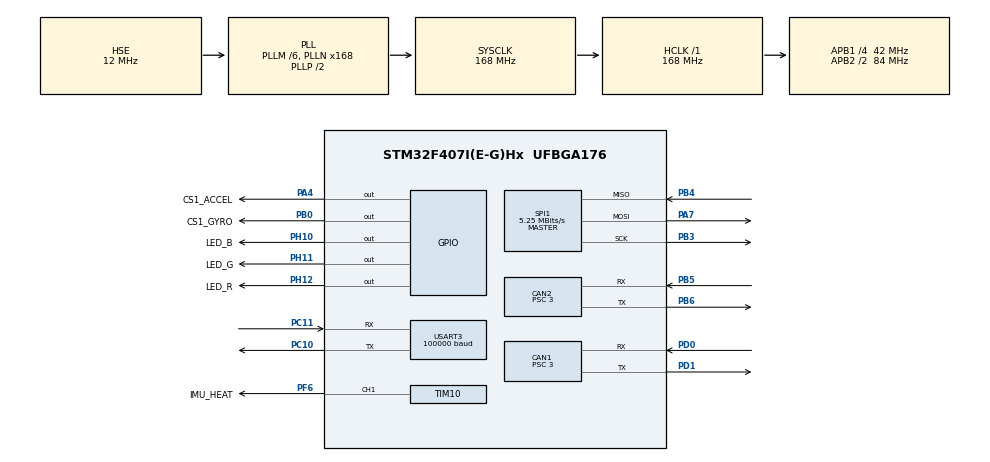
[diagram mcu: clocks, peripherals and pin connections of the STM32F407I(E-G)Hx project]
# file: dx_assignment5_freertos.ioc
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CAN1.ABOM=ENABLE
CAN1.AWUM=ENABLE
CAN1.BS1=CAN_BS1_7TQ
CAN1.BS2=CAN_BS2_6TQ
CAN1.CalculateBaudRate=1000000
CAN1.CalculateTimeBit=1000
CAN1.CalculateTimeQuantum=71.42857142857143
CAN1.Mode=CAN_MODE_NORMAL
CAN1.NART=ENABLE
CAN1.Prescaler=3
CAN1.TXFP=ENABLE
CAN2.BS1=CAN_BS1_7TQ
CAN2.BS2=CAN_BS2_6TQ
CAN2.CalculateBaudRate=1000000
CAN2.CalculateTimeBit=1000
CAN2.CalculateTimeQuantum=71.42857142857143
CAN2.Prescaler=3
Dma.Request0=USART3_RX
Dma.USART3_RX.0.Direction=DMA_PERIPH_TO_MEMORY
Dma.USART3_RX.0.FIFOMode=DMA_FIFOMODE_DISABLE
Dma.USART3_RX.0.Instance=DMA1_Stream1
Dma.USART3_RX.0.MemDataAlignment=DMA_MDATAALIGN_BYTE
Dma.USART3_RX.0.MemInc=DMA_MINC_ENABLE
Dma.USART3_RX.0.Mode=DMA_NORMAL
Dma.USART3_RX.0.PeriphDataAlignment=DMA_PDATAALIGN_BYTE
Dma.USART3_RX.0.PeriphInc=DMA_PINC_DISABLE
Dma.USART3_RX.0.Priority=DMA_PRIORITY_LOW
FREERTOS.CountingSemaphores01=CAN1CountingSem,3,Dynamic,NULL;CAN2CountingSem,3,Dynamic,NULL
FREERTOS.Queues01=can1_send_fifo,16,can_device_transmit_member,0,Dynamic,NULL,NULL;can2_send_fifo,16,can_device_transmit_member,0,Dynamic,NULL,NULL
FREERTOS.Tasks01=CAN1_Sending_Service,40,256,can1_sending_service,As weak,NULL,Dynamic,NULL,NULL;CAN2_Sending_Service,40,256,can2_sending_service,As weak,NULL,Dynamic,NULL,NULL;DJI_Motor_Service,40,256,DJI_motor_service,As weak,NULL,Dynamic,NULL,NULL;LED_Task,16,128,led_task,As weak,NULL,Dynamic,NULL,NULL;INS_Task,40,1024,ins_task,As weak,NULL,Dynamic,NULL,NULL;RC_Task,24,256,rc_task,As weak,NULL,Dynamic,NULL,NULL;Power_Task,24,128,power_task,As weak,NULL,Dynamic,NULL,NULL;Motor_Task,40,512,motor_task,As weak,NULL,Dynamic,NULL,NULL
FREERTOS.configMAX_TASK_NAME_LEN=32
FREERTOS.configMINIMAL_STACK_SIZE=128
FREERTOS.configTOTAL_HEAP_SIZE=50000
FREERTOS.configUSE_NEWLIB_REENTRANT=1
Mcu.Family=STM32F4
Mcu.Name=STM32F407I(E-G)Hx
Mcu.Package=UFBGA176
NVIC.CAN1_RX0_IRQn=true\:5\:0\:false\:false\:true\:true\:true\:true\:true
NVIC.CAN1_TX_IRQn=true\:5\:0\:false\:false\:true\:true\:true\:true\:true
NVIC.CAN2_RX1_IRQn=true\:5\:0\:false\:false\:true\:true\:true\:true\:true
NVIC.CAN2_TX_IRQn=true\:5\:0\:false\:false\:true\:true\:true\:true\:true
NVIC.DMA1_Stream1_IRQn=true\:5\:0\:false\:false\:true\:true\:false\:true\:true
NVIC.PriorityGroup=NVIC_PRIORITYGROUP_4
NVIC.TIM7_IRQn=true\:15\:0\:false\:false\:true\:false\:false\:true\:true
NVIC.TimeBase=TIM7_IRQn
NVIC.TimeBaseIP=TIM7
NVIC.USART3_IRQn=true\:5\:0\:false\:false\:true\:true\:true\:true\:true
PA13.Mode=Serial_Wire
PA13.Signal=SYS_JTMS-SWDIO
PA14.Mode=Serial_Wire
PA14.Signal=SYS_JTCK-SWCLK
PA4.GPIO_Label=CS1_ACCEL
PA4.GPIO_Speed=GPIO_SPEED_FREQ_HIGH
PA4.PinState=GPIO_PIN_SET
PA4.Signal=GPIO_Output
PA7.Mode=Full_Duplex_Master
PA7.Signal=SPI1_MOSI
PB0.GPIO_Label=CS1_GYRO
PB0.GPIO_ModeDefaultOutputPP=GPIO_MODE_OUTPUT_PP
PB0.GPIO_Speed=GPIO_SPEED_FREQ_HIGH
PB0.PinState=GPIO_PIN_SET
PB0.Signal=GPIO_Output
PB3.Mode=Full_Duplex_Master
PB3.Signal=SPI1_SCK
PB4.Mode=Full_Duplex_Master
PB4.Signal=SPI1_MISO
PB5.Mode=CAN_Activate
PB5.Signal=CAN2_RX
PB6.Mode=CAN_Activate
PB6.Signal=CAN2_TX
PC10.Mode=Asynchronous
PC10.Signal=USART3_TX
PC11.Mode=Asynchronous
PC11.Signal=USART3_RX
PD0.Mode=CAN_Activate
PD0.Signal=CAN1_RX
PD1.Mode=CAN_Activate
PD1.Signal=CAN1_TX
PF6.GPIO_Label=IMU_HEAT
PF6.Signal=S_TIM10_CH1
PH0-OSC_IN.Mode=HSE-External-Oscillator
PH0-OSC_IN.Signal=RCC_OSC_IN
PH1-OSC_OUT.Mode=HSE-External-Oscillator
PH1-OSC_OUT.Signal=RCC_OSC_OUT
PH10.GPIO_Label=LED_B
PH10.GPIO_ModeDefaultOutputPP=GPIO_MODE_OUTPUT_PP
PH10.GPIO_PuPd=GPIO_NOPULL
PH10.GPIO_Speed=GPIO_SPEED_FREQ_LOW
PH10.PinState=GPIO_PIN_RESET
PH10.Signal=GPIO_Output
PH11.GPIO_Label=LED_G
PH11.GPIO_ModeDefaultOutputPP=GPIO_MODE_OUTPUT_PP
PH11.GPIO_PuPd=GPIO_NOPULL
PH11.GPIO_Speed=GPIO_SPEED_FREQ_LOW
PH11.PinState=GPIO_PIN_RESET
PH11.Signal=GPIO_Output
PH12.GPIO_Label=LED_R
PH12.GPIO_ModeDefaultOutputPP=GPIO_MODE_OUTPUT_PP
PH12.GPIO_PuPd=GPIO_NOPULL
PH12.GPIO_Speed=GPIO_SPEED_FREQ_LOW
PH12.PinState=GPIO_PIN_RESET
PH12.Signal=GPIO_Output
ProjectManager.HeapSize=0x200
ProjectManager.StackSize=0x400
ProjectManager.TargetToolchain=CMake
RCC.48MHZClocksFreq_Value=84000000
RCC.AHBFreq_Value=168000000
RCC.APB1CLKDivider=RCC_HCLK_DIV4
RCC.APB1Freq_Value=42000000
RCC.APB1TimFreq_Value=84000000
RCC.APB2CLKDivider=RCC_HCLK_DIV2
RCC.APB2Freq_Value=84000000
RCC.APB2TimFreq_Value=168000000
RCC.CortexFreq_Value=168000000
RCC.HCLKFreq_Value=168000000
RCC.HSE_VALUE=12000000
RCC.HSI_VALUE=16000000
RCC.LSE_VALUE=32768
RCC.PLLM=6
RCC.PLLN=168
RCC.PLLSourceVirtual=RCC_PLLSOURCE_HSE
RCC.SYSCLKFreq_VALUE=168000000
RCC.SYSCLKSource=RCC_SYSCLKSOURCE_PLLCLK
RCC.VCOOutputFreq_Value=336000000
SH.S_TIM10_CH1.0=TIM10_CH1,PWM Generation1 CH1
SPI1.BaudRatePrescaler=SPI_BAUDRATEPRESCALER_16
SPI1.CLKPhase=SPI_PHASE_2EDGE
SPI1.CLKPolarity=SPI_POLARITY_HIGH
SPI1.CalculateBaudRate=5.25 MBits/s
SPI1.Direction=SPI_DIRECTION_2LINES
SPI1.Mode=SPI_MODE_MASTER
SPI1.VirtualType=VM_MASTER
TIM10.Channel=TIM_CHANNEL_1
TIM10.Period=1999
TIM10.Prescaler=83
USART3.BaudRate=100000
USART3.Parity=PARITY_EVEN
USART3.VirtualMode=VM_ASYNC
USART3.WordLength=WORDLENGTH_9B
VP_FREERTOS_VS_CMSIS_V2.Mode=CMSIS_V2
VP_SYS_VS_tim7.Mode=TIM7
VP_TIM10_VS_ClockSourceINT.Mode=Enable_Timer
board=custom

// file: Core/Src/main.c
/* USER CODE BEGIN Header */
/**
  ******************************************************************************
  * @file           : main.c
  * @brief          : Main program body
  ******************************************************************************
  * @attention
  *
  * Copyright (c) 2026 STMicroelectronics.
  * All rights reserved.
  *
  * This software is licensed under terms that can be found in the LICENSE file
  * in the root directory of this software component.
  * If no LICENSE file comes with this software, it is provided AS-IS.
  *
  ******************************************************************************
  */
/* USER CODE END Header */
#include "main.h"
#include "cmsis_os.h"
#include "can.h"
#include "dma.h"
#include "spi.h"
#include "tim.h"
#include "usart.h"
#include "gpio.h"

/* USER CODE BEGIN Includes */
#include "bsp_dwt.h"
#include "bsp_BMI088driver.h"
/* USER CODE END Includes */

void SystemClock_Config(void);
void MX_FREERTOS_Init(void);

/* USER CODE BEGIN 0 */
void bsp_can_init() {
    HAL_CAN_Start(&hcan1);
    HAL_CAN_ActivateNotification(&hcan1,  CAN_IT_RX_FIFO0_MSG_PENDING | CAN_IT_TX_MAILBOX_EMPTY);
    HAL_CAN_Start(&hcan2);
    HAL_CAN_ActivateNotification(&hcan2,  CAN_IT_RX_FIFO1_MSG_PENDING | CAN_IT_TX_MAILBOX_EMPTY);
}
/* USER CODE END 0 */

int main(void)
{

  /* USER CODE BEGIN 1 */
  __HAL_RCC_SYSCLK_CONFIG(RCC_SYSCLKSOURCE_HSI);
  /* USER CODE END 1 */

  /* MCU Configuration--------------------------------------------------------*/

  /* Reset of all peripherals, Initializes the Flash interface and the Systick. */
  HAL_Init();

  /* Configure the system clock */
  SystemClock_Config();

  /* Initialize all configured peripherals */
  MX_GPIO_Init();
  MX_DMA_Init();
  MX_CAN1_Init();
  MX_CAN2_Init();
  MX_SPI1_Init();
  MX_TIM10_Init();
  MX_USART3_UART_Init();
  /* USER CODE BEGIN 2 */
  DWT_Init(168);
  if (BMI088_init(&hspi1,1) != BMI088_NO_ERROR)
  {
    Error_Handler();
  }
  bsp_can_init();
  /* USER CODE END 2 */

  /* Init scheduler */
  osKernelInitialize();  /* Call init function for freertos objects (in cmsis_os2.c) */
  MX_FREERTOS_Init();

  /* Start scheduler */
  osKernelStart();

  /* We should never get here as control is now taken by the scheduler */

  /* Infinite loop */
  while (1)
  {

  }
}

void SystemClock_Config(void)
{
  RCC_OscInitTypeDef RCC_OscInitStruct = {0};
  RCC_ClkInitTypeDef RCC_ClkInitStruct = {0};

  /** Configure the main internal regulator output voltage
  */
  __HAL_RCC_PWR_CLK_ENABLE();
  __HAL_PWR_VOLTAGESCALING_CONFIG(PWR_REGULATOR_VOLTAGE_SCALE1);

  /** Initializes the RCC Oscillators according to the specified parameters
  * in the RCC_OscInitTypeDef structure.
  */
  RCC_OscInitStruct.OscillatorType = RCC_OSCILLATORTYPE_HSE;
  RCC_OscInitStruct.HSEState = RCC_HSE_ON;
  RCC_OscInitStruct.PLL.PLLState = RCC_PLL_ON;
  RCC_OscInitStruct.PLL.PLLSource = RCC_PLLSOURCE_HSE;
  RCC_OscInitStruct.PLL.PLLM = 6;
  RCC_OscInitStruct.PLL.PLLN = 168;
  RCC_OscInitStruct.PLL.PLLP = RCC_PLLP_DIV2;
  RCC_OscInitStruct.PLL.PLLQ = 4;
  if (HAL_RCC_OscConfig(&RCC_OscInitStruct) != HAL_OK)
  {
    Error_Handler();
  }

  /** Initializes the CPU, AHB and APB buses clocks
  */
  RCC_ClkInitStruct.ClockType = RCC_CLOCKTYPE_HCLK|RCC_CLOCKTYPE_SYSCLK
                              |RCC_CLOCKTYPE_PCLK1|RCC_CLOCKTYPE_PCLK2;
  RCC_ClkInitStruct.SYSCLKSource = RCC_SYSCLKSOURCE_PLLCLK;
  RCC_ClkInitStruct.AHBCLKDivider = RCC_SYSCLK_DIV1;
  RCC_ClkInitStruct.APB1CLKDivider = RCC_HCLK_DIV4;
  RCC_ClkInitStruct.APB2CLKDivider = RCC_HCLK_DIV2;

  if (HAL_RCC_ClockConfig(&RCC_ClkInitStruct, FLASH_LATENCY_5) != HAL_OK)
  {
    Error_Handler();
  }
}

void HAL_TIM_PeriodElapsedCallback(TIM_HandleTypeDef *htim)
{
  if (htim->Instance == TIM7)
  {
    HAL_IncTick();
  }
}

void Error_Handler(void)
{
  __disable_irq();
  while (1)
  {
  }
}

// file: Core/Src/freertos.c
/* USER CODE BEGIN Header */
/**
  ******************************************************************************
  * File Name          : freertos.c
  * Description        : Code for freertos applications
  ******************************************************************************
  * @attention
  *
  * Copyright (c) 2026 STMicroelectronics.
  * All rights reserved.
  *
  * This software is licensed under terms that can be found in the LICENSE file
  * in the root directory of this software component.
  * If no LICENSE file comes with this software, it is provided AS-IS.
  *
  ******************************************************************************
  */
/* USER CODE END Header */

#include "FreeRTOS.h"
#include "task.h"
#include "main.h"
#include "cmsis_os.h"

/* USER CODE BEGIN PTD */
typedef struct {
    CAN_HandleTypeDef *hcan;
    uint32_t id;
    uint8_t len;
    uint8_t *buf_data;
}can_device_transmit_member;
/* USER CODE END PTD */

/* Definitions for CAN1_Sending_Service */
osThreadId_t CAN1_Sending_ServiceHandle;
const osThreadAttr_t CAN1_Sending_Service_attributes = {
  .name = "CAN1_Sending_Service",
  .stack_size = 256 * 4,
  .priority = (osPriority_t) osPriorityHigh,
};
/* Definitions for CAN2_Sending_Service */
osThreadId_t CAN2_Sending_ServiceHandle;
const osThreadAttr_t CAN2_Sending_Service_attributes = {
  .name = "CAN2_Sending_Service",
  .stack_size = 256 * 4,
  .priority = (osPriority_t) osPriorityHigh,
};
/* Definitions for DJI_Motor_Service */
osThreadId_t DJI_Motor_ServiceHandle;
const osThreadAttr_t DJI_Motor_Service_attributes = {
  .name = "DJI_Motor_Service",
  .stack_size = 256 * 4,
  .priority = (osPriority_t) osPriorityHigh,
};
/* Definitions for LED_Task */
osThreadId_t LED_TaskHandle;
const osThreadAttr_t LED_Task_attributes = {
  .name = "LED_Task",
  .stack_size = 128 * 4,
  .priority = (osPriority_t) osPriorityBelowNormal,
};
/* Definitions for INS_Task */
osThreadId_t INS_TaskHandle;
const osThreadAttr_t INS_Task_attributes = {
  .name = "INS_Task",
  .stack_size = 1024 * 4,
  .priority = (osPriority_t) osPriorityHigh,
};
/* Definitions for RC_Task */
osThreadId_t RC_TaskHandle;
const osThreadAttr_t RC_Task_attributes = {
  .name = "RC_Task",
  .stack_size = 256 * 4,
  .priority = (osPriority_t) osPriorityNormal,
};
/* Definitions for Power_Task */
osThreadId_t Power_TaskHandle;
const osThreadAttr_t Power_Task_attributes = {
  .name = "Power_Task",
  .stack_size = 128 * 4,
  .priority = (osPriority_t) osPriorityNormal,
};
/* Definitions for Motor_Task */
osThreadId_t Motor_TaskHandle;
const osThreadAttr_t Motor_Task_attributes = {
  .name = "Motor_Task",
  .stack_size = 512 * 4,
  .priority = (osPriority_t) osPriorityHigh,
};
/* Definitions for can1_send_fifo */
osMessageQueueId_t can1_send_fifoHandle;
const osMessageQueueAttr_t can1_send_fifo_attributes = {
  .name = "can1_send_fifo"
};
/* Definitions for can2_send_fifo */
osMessageQueueId_t can2_send_fifoHandle;
const osMessageQueueAttr_t can2_send_fifo_attributes = {
  .name = "can2_send_fifo"
};
/* Definitions for CAN1CountingSem */
osSemaphoreId_t CAN1CountingSemHandle;
const osSemaphoreAttr_t CAN1CountingSem_attributes = {
  .name = "CAN1CountingSem"
};
/* Definitions for CAN2CountingSem */
osSemaphoreId_t CAN2CountingSemHandle;
const osSemaphoreAttr_t CAN2CountingSem_attributes = {
  .name = "CAN2CountingSem"
};

void can1_sending_service(void *argument);
void can2_sending_service(void *argument);
void DJI_motor_service(void *argument);
void led_task(void *argument);
void ins_task(void *argument);
void rc_task(void *argument);
void power_task(void *argument);
void motor_task(void *argument);

void MX_FREERTOS_Init(void); /* (MISRA C 2004 rule 8.1) */

void MX_FREERTOS_Init(void) {

  /* Create the semaphores(s) */
  /* creation of CAN1CountingSem */
  CAN1CountingSemHandle = osSemaphoreNew(3, 3, &CAN1CountingSem_attributes);

  /* creation of CAN2CountingSem */
  CAN2CountingSemHandle = osSemaphoreNew(3, 3, &CAN2CountingSem_attributes);

  /* Create the queue(s) */
  /* creation of can1_send_fifo */
  can1_send_fifoHandle = osMessageQueueNew (16, sizeof(can_device_transmit_member), &can1_send_fifo_attributes);

  /* creation of can2_send_fifo */
  can2_send_fifoHandle = osMessageQueueNew (16, sizeof(can_device_transmit_member), &can2_send_fifo_attributes);

  /* Create the thread(s) */
  /* creation of CAN1_Sending_Service */
  CAN1_Sending_ServiceHandle = osThreadNew(can1_sending_service, NULL, &CAN1_Sending_Service_attributes);

  /* creation of CAN2_Sending_Service */
  CAN2_Sending_ServiceHandle = osThreadNew(can2_sending_service, NULL, &CAN2_Sending_Service_attributes);

  /* creation of DJI_Motor_Service */
  DJI_Motor_ServiceHandle = osThreadNew(DJI_motor_service, NULL, &DJI_Motor_Service_attributes);

  /* creation of LED_Task */
  LED_TaskHandle = osThreadNew(led_task, NULL, &LED_Task_attributes);

  /* creation of INS_Task */
  INS_TaskHandle = osThreadNew(ins_task, NULL, &INS_Task_attributes);

  /* creation of RC_Task */
  RC_TaskHandle = osThreadNew(rc_task, NULL, &RC_Task_attributes);

  /* creation of Power_Task */
  Power_TaskHandle = osThreadNew(power_task, NULL, &Power_Task_attributes);

  /* creation of Motor_Task */
  Motor_TaskHandle = osThreadNew(motor_task, NULL, &Motor_Task_attributes);

}

__weak void can1_sending_service(void *argument)
{
  for(;;)
  {
    osDelay(1);
  }
}

__weak void can2_sending_service(void *argument)
{
  for(;;)
  {
    osDelay(1);
  }
}

__weak void DJI_motor_service(void *argument)
{
  for(;;)
  {
    osDelay(1);
  }
}

__weak void led_task(void *argument)
{
  for(;;)
  {
    osDelay(1);
  }
}

__weak void ins_task(void *argument)
{
  for(;;)
  {
    osDelay(1);
  }
}

__weak void rc_task(void *argument)
{
  for(;;)
  {
    osDelay(1);
  }
}

__weak void power_task(void *argument)
{
  for(;;)
  {
    osDelay(1);
  }
}

__weak void motor_task(void *argument)
{
  for(;;)
  {
    osDelay(1);
  }
}
